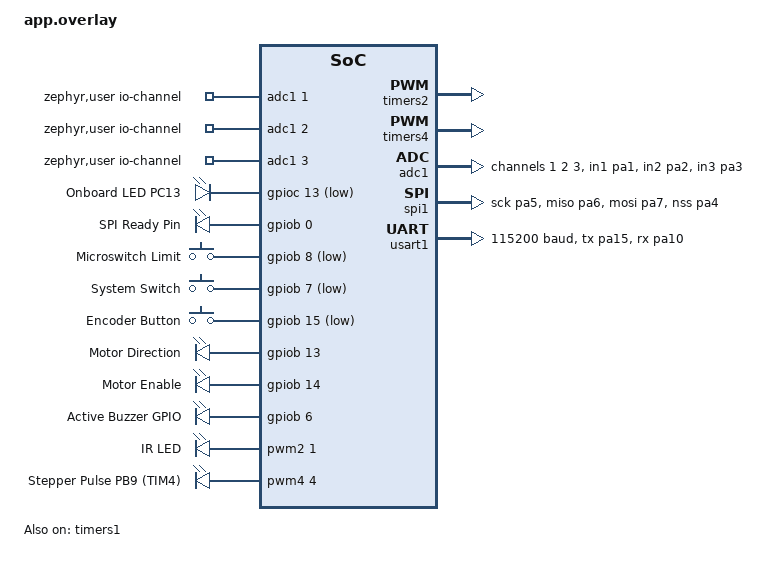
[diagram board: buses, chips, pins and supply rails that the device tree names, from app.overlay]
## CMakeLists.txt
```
cmake_minimum_required(VERSION 3.20.0)

# O Zephyr lê o arquivo 'VERSION' automaticamente AQUI
find_package(Zephyr REQUIRED HINTS $ENV{ZEPHYR_BASE})

project(infusion_pump)

target_include_directories(app PRIVATE
    include       
    utl           
)

target_sources(app PRIVATE
    src/main.c        
    src/cmd.c
    src/hub.c
    src/adc_driver.c
    src/encoder.c
    src/motor_driver.c
    src/logic_engine.c
    src/ota_handler.c 
    utl/utl_io.c      
    utl/utl_crc16.c   
)

# Define a versão do aplicativo com base no arquivo VERSION
set(APP_VERSION_STRING "${APP_VERSION_MAJOR}.${APP_VERSION_MINOR}.${APP_PATCHLEVEL}")

# Feedback visual no log
message(STATUS "Blackpill Firmware Version: ${APP_VERSION_STRING}")

# Injeta a versão na assinatura do MCUboot
set(CONFIG_MCUBOOT_IMGTOOL_SIGN_VERSION "${APP_VERSION_STRING}" CACHE STRING "" FORCE)


# Define o nome do arquivo de saída: "blackpill_v${APP_VERSION_MAJOR}.${APP_VERSION_MINOR}.${APP_PATCHLEVEL}.bin"
set(OUTPUT_BIN_NAME "blackpill_v${APP_VERSION_STRING}.bin")

# 1. Cria um "Alvo Customizado" chamado 'artifact_gen'.
# A flag 'ALL' diz ao CMake: "Este alvo faz parte do build padrão, execute-o sempre!"
add_custom_target(artifact_gen ALL
    COMMAND ${CMAKE_COMMAND} -E copy
    ${CMAKE_BINARY_DIR}/zephyr/zephyr.signed.bin
    ${CMAKE_SOURCE_DIR}/${OUTPUT_BIN_NAME}
    
    COMMENT ">>> [SUCESSO] ${OUTPUT_BIN_NAME}"
)

# 2. Define a Ordem de Execução
# Dizemos: "O alvo 'artifact_gen' depende do 'zephyr_final' estar pronto".
# Isso garante que a cópia só tente rodar depois que o Zephyr terminar de linkar tudo.
add_dependencies(artifact_gen zephyr_final)
```

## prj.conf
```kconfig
# Periféricos Básicos
CONFIG_GPIO=y
CONFIG_SERIAL=y
CONFIG_CONSOLE=y
CONFIG_INPUT=y

# SPI e DMA (Essenciais para o Hub)
CONFIG_SPI=y
CONFIG_SPI_SLAVE=y
CONFIG_DMA=y
CONFIG_SPI_STM32_DMA=y
CONFIG_SPI_STM32=y

# ADC
CONFIG_ADC=y
CONFIG_ADC_STM32=y

# Timer
CONFIG_PWM=y
CONFIG_PWM_STM32=y
CONFIG_SENSOR=y

# Lib C
CONFIG_PICOLIBC=n
CONFIG_NEWLIB_LIBC=y

# Logs (Otimizado para performance)
CONFIG_LOG=y
CONFIG_LOG_MODE_IMMEDIATE=n
CONFIG_LOG_MODE_DEFERRED=y
CONFIG_LOG_BUFFER_SIZE=4096
CONFIG_LOG_DEFAULT_LEVEL=3

# Stacks
CONFIG_MAIN_STACK_SIZE=4096
CONFIG_ISR_STACK_SIZE=4096

# Bootloader e DFU
CONFIG_BOOTLOADER_MCUBOOT=y
CONFIG_IMG_MANAGER=y
CONFIG_FLASH=y
CONFIG_FLASH_MAP=y
CONFIG_STREAM_FLASH=y
CONFIG_IMG_ERASE_PROGRESSIVELY=y
CONFIG_REBOOT=y

# Utils
CONFIG_NET_BUF=y
CONFIG_ZCBOR=y
CONFIG_CRC=y
CONFIG_POLL=y

CONFIG_SYSTEM_WORKQUEUE_PRIORITY=-1

# Assinatura (Ajuste a versão conforme necessário)
CONFIG_MCUBOOT_SIGNATURE_KEY_FILE="bootloader/mcuboot/root-rsa-2048.pem"
# CONFIG_MCUBOOT_IMGTOOL_SIGN_VERSION="1.0.5"
```

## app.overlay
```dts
/ {
    zephyr,user {
        io-channels = <&adc1 1>, <&adc1 2>, <&adc1 3>;
    };

    chosen {
        zephyr,code-partition = &slot0_partition;
        zephyr,console = &usart1;
        zephyr,shell-uart = &usart1;
    };
    
    aliases {
        led0 = &onboard_led;
        
        /* Sensores */
        qdec0 = &qdec;         
        sw-spdt = &button_spdt;
        sw-mech = &button_mech;
        sw-encoder = &button_encoder;
        
        /* ADC - Agora os labels &adc_photo existem! */
        adc-photo = &adc_photo;
        adc-pot = &adc_pot;
        adc-load = &adc_load;

        /* Atuadores */
        motor-pwm = &motor_pwm;
        motor-dir = &motor_dir;
        motor-en = &motor_en;
        led-ir = &pwm_ir;
        buzzer = &buzzer_gpio; 
        
        /* Comms */
        spi-ready = &ready_pin;
    };

    leds {
        compatible = "gpio-leds";
        onboard_led: led_pc13 {
            gpios = <&gpioc 13 GPIO_ACTIVE_LOW>;
            label = "Onboard LED PC13";
        };
        ready_pin: ready_pin_pb0 {
            gpios = <&gpiob 0 GPIO_ACTIVE_HIGH>;
            label = "SPI Ready Pin";
        };
    };

    buttons {
        compatible = "gpio-keys";
        button_mech: microswitch {
            gpios = <&gpiob 8 (GPIO_ACTIVE_LOW | GPIO_PULL_UP)>;
            label = "Microswitch Limit";
            zephyr,code = <11>; 
        };
        button_spdt: spdt_switch {
            gpios = <&gpiob 7 (GPIO_ACTIVE_LOW | GPIO_PULL_UP)>;
            label = "System Switch";
            zephyr,code = <12>;
        };
        button_encoder: encoder_sw {
            gpios = <&gpiob 15 (GPIO_ACTIVE_LOW | GPIO_PULL_UP)>;
            label = "Encoder Button";
            zephyr,code = <13>;
        };
    };

    gpio_outputs {
        compatible = "gpio-leds"; 
        motor_dir: motor_dir {
            gpios = <&gpiob 13 GPIO_ACTIVE_HIGH>;
            label = "Motor Direction";
        };
        motor_en: motor_ena {
            gpios = <&gpiob 14 GPIO_ACTIVE_HIGH>;
            label = "Motor Enable";
        };
        buzzer_gpio: buzzer_gpio {
            gpios = <&gpiob 6 GPIO_ACTIVE_HIGH>;
            label = "Active Buzzer GPIO";
        };
    };

    pwmleds {
        compatible = "pwm-leds";
        
        pwm_ir: pwm_led_ir {
            pwms = <&pwm2 1 PWM_MSEC(20) PWM_POLARITY_NORMAL>;
            label = "IR LED";
        };

        motor_pwm: motor_pulse {
            pwms = <&pwm4 4 PWM_USEC(1000) PWM_POLARITY_NORMAL>;
            label = "Stepper Pulse PB9 (TIM4)";
        };
    };
};

/* --- Configuração do Timer 1 (Hardware Encoder) --- */
&timers1 {
    status = "okay";
    
    qdec: qdec {
        compatible = "st,stm32-qdec";
        status = "okay";
        pinctrl-0 = <&tim1_ch1_pa8 &tim1_ch2_pa9>;
        pinctrl-names = "default";
        
        st,encoder-mode = <3>; 
        st,input-filter-level = <12>; 
        st,counts-per-revolution = <80>;
    };
};

/* --- Configuração dos Timers PWM --- */
&timers2 {
    status = "okay";
    pwm2: pwm {
        status = "okay";
        pinctrl-0 = <&tim2_ch1_pwm_pa0>;
        pinctrl-names = "default";
    };
};

&timers4 {
    status = "okay";
    st,prescaler = <95>; /* Clock máximo para precisão */

    pwm4: pwm {
        status = "okay";
        pinctrl-0 = <&tim4_ch4_pwm_pb9>; /* Aponta para a nova config AF2 */
        pinctrl-names = "default";
    };
};

/* --- Configuração ADC (CORRIGIDA) --- */
&adc1 {
    status = "okay";
    pinctrl-0 = <&adc1_in1_pa1 &adc1_in2_pa2 &adc1_in3_pa3>;
    pinctrl-names = "default";
    st,adc-clock-source = <SYNC>;
    st,adc-prescaler = <4>;
    #address-cells = <1>;
    #size-cells = <0>;

    /* ADICIONADO: Labels para os canais */
    adc_photo: channel@1 {
        reg = <1>;
        zephyr,gain = "ADC_GAIN_1";
        zephyr,reference = "ADC_REF_INTERNAL";
        zephyr,acquisition-time = <ADC_ACQ_TIME_DEFAULT>;
        zephyr,resolution = <12>;
    };
    adc_pot: channel@2 {
        reg = <2>;
        zephyr,gain = "ADC_GAIN_1";
        zephyr,reference = "ADC_REF_INTERNAL";
        zephyr,acquisition-time = <ADC_ACQ_TIME_DEFAULT>;
        zephyr,resolution = <12>;
    };
    adc_load: channel@3 {
        reg = <3>;
        zephyr,gain = "ADC_GAIN_1";
        zephyr,reference = "ADC_REF_INTERNAL";
        zephyr,acquisition-time = <ADC_ACQ_TIME_DEFAULT>;
        zephyr,resolution = <12>;
    };
};

/* --- Pin Control (Muxing) --- */
&pinctrl {
    /* SPI1 */
    spi1_sck_pa5: spi1_sck_pa5 {
        pinmux = <STM32_PINMUX('A', 5, AF5)>;
        bias-pull-up; 
    };
    spi1_miso_pa6: spi1_miso_pa6 {
        pinmux = <STM32_PINMUX('A', 6, AF5)>;
        bias-pull-down;
    };
    spi1_mosi_pa7: spi1_mosi_pa7 {
        pinmux = <STM32_PINMUX('A', 7, AF5)>;
        bias-pull-up;
    };
    spi1_nss_pa4: spi1_nss_pa4 {
         pinmux = <STM32_PINMUX('A', 4, AF5)>;
         bias-pull-up;
    };

    /* ADC */
    adc1_in1_pa1: adc1_in1_pa1 { pinmux = <STM32_PINMUX('A', 1, ANALOG)>; };
    adc1_in2_pa2: adc1_in2_pa2 { pinmux = <STM32_PINMUX('A', 2, ANALOG)>; };
    adc1_in3_pa3: adc1_in3_pa3 { pinmux = <STM32_PINMUX('A', 3, ANALOG)>; };

    /* PWM Timers */
    tim2_ch1_pwm_pa0: tim2_ch1_pwm_pa0 {
        pinmux = <STM32_PINMUX('A', 0, AF1)>;
    };
    tim4_ch4_pwm_pb9: tim4_ch4_pwm_pb9 {
        pinmux = <STM32_PINMUX('B', 9, AF2)>; /* AF2 = TIM4_CH4 */
        bias-pull-down; /* Garante 0V quando desligado */
        drive-push-pull;
        slew-rate = "very-high-speed"; /* Bom para PWM rápido */
    };
    
    /* Hardware Encoder Timer 1 (PA8 e PA9) */
    tim1_ch1_pa8: tim1_ch1_pa8 {
        pinmux = <STM32_PINMUX('A', 8, AF1)>;
        bias-pull-up;
    };
    tim1_ch2_pa9: tim1_ch2_pa9 {
        pinmux = <STM32_PINMUX('A', 9, AF1)>;
        bias-pull-up;
    };

    usart1_tx_pa15: usart1_tx_pa15 {
        pinmux = <STM32_PINMUX('A', 15, AF7)>;
        bias-pull-up;
    };

    /* Configura PA10 como USART1_RX (AF7) */
    usart1_rx_pa10: usart1_rx_pa10 {
        pinmux = <STM32_PINMUX('A', 10, AF7)>;
        bias-pull-up;
    };
};

/* --- Configurações Flash e Periféricos --- */
&flash0 {
    /delete-node/ partitions;
};

&flash0 {
    partitions {
        compatible = "fixed-partitions";
        #address-cells = <1>;
        #size-cells = <1>;
        boot_partition: partition@0 {
            label = "mcuboot";
            reg = <0x00000000 0x00020000>; 
        };
        slot0_partition: partition@20000 {
            label = "image-0";
            reg = <0x00020000 0x00020000>; 
        };
        slot1_partition: partition@40000 {
            label = "image-1";
            reg = <0x00040000 0x00020000>; 
        };
        scratch_partition: partition@60000 {
            label = "image-scratch";
            reg = <0x00060000 0x00020000>; 
        };
    };
};

&dma2 { status = "okay"; };

&spi1 {
    status = "okay";
    pinctrl-0 = <&spi1_sck_pa5 &spi1_miso_pa6 &spi1_mosi_pa7 &spi1_nss_pa4>;
    pinctrl-names = "default";
    dmas = <&dma2 3 3 0x28440 0x03>, <&dma2 0 3 0x28480 0x03>;
    dma-names = "tx", "rx";
};

/* Configuração do Periférico USART1 */
&usart1 {
    status = "okay";
    pinctrl-0 = <&usart1_tx_pa15 &usart1_rx_pa10>;
    pinctrl-names = "default";
    current-speed = <115200>;
};

/* Desativa periféricos não usados */
&i2c1 { status = "disabled"; };
&i2c2 { status = "disabled"; };
&i2c3 { status = "disabled"; };
&usart2 { status = "disabled"; };
&usart6 { status = "disabled"; };
&timers11 { status = "disabled"; };
```

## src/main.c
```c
#include <zephyr/kernel.h>
#include <zephyr/dfu/mcuboot.h>
#include <zephyr/drivers/gpio.h>
#include <zephyr/logging/log.h>
#include <zephyr/app_version.h>
#include "hub.h"
#include "protocol_defs.h"
#include "sensor_data.h"
#include "logic_engine.h"

LOG_MODULE_REGISTER(main, LOG_LEVEL_INF);

static const struct gpio_dt_spec led = GPIO_DT_SPEC_GET(DT_ALIAS(led0), gpios);

int main(void)
{
    if (device_is_ready(led.port))
    {
        gpio_pin_configure_dt(&led, GPIO_OUTPUT_ACTIVE);
    }

    LOG_INF("--- BLACKPILL BOOT (v%u.%u.%u) ---",
            APP_VERSION_MAJOR,
            APP_VERSION_MINOR,
            APP_PATCHLEVEL);

    boot_write_img_confirmed();

    if (hub_init() != 0)
    {
        LOG_ERR("Falha fatal no Hub SPI!");
        return -1;
    }

    LOG_INF("Sistema inicializado. Threads ativas.");

    /* Nada mais a fazer.
       O sistema roda via threads. */
    while (1)
    {
        k_sleep(K_FOREVER);
    }
}
```

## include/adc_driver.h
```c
#ifndef ADC_DRIVER_H
#define ADC_DRIVER_H

#include <zephyr/kernel.h>
#include "sensor_data.h"

extern struct k_msgq sensor_data_q;

int adc_driver_init(void);
void adc_thread_entry(void *p1, void *p2, void *p3);

#endif
```

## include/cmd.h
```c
#ifndef CMD_H
#define CMD_H

#include <stdint.h>
#include <stddef.h>
#include <stdbool.h>

/* Configurações de Tamanho */
#define CMD_MAX_DATA_SIZE 250

// [MUDANÇA 1] Tamanho do Header sobe para 7 (AA+55+DST+SRC+ID+SIZE)
#define CMD_HDR_SIZE       7
#define CMD_TRAILER_SIZE   2
#define FRAME_MAX_CMD_SIZE (CMD_HDR_SIZE + CMD_MAX_DATA_SIZE + CMD_TRAILER_SIZE)
#define CMD_INVALID_ID     255
#define ADDR_MASTER        0x00
#define ADDR_SLAVE         0x01

// [MUDANÇA 2] Definição dos Bytes de Start of Frame
#define CMD_SOF_1_BYTE 0xAA
#define CMD_SOF_2_BYTE 0x55

typedef enum cmd_ids_e
{
    CMD_VERSION_REQ_ID = 0x01,
    CMD_VERSION_RES_ID = 0x02,
    CMD_GET_STATUS_REQ_ID = 0x03,
    CMD_GET_STATUS_RES_ID = 0x04,
    CMD_SET_CONFIG_REQ_ID = 0x10,
    CMD_SET_CONFIG_RES_ID = 0x11,
    CMD_ACTION_RUN_REQ_ID = 0x20,
    CMD_ACTION_PAUSE_REQ_ID = 0x21,
    CMD_ACTION_ABORT_REQ_ID = 0x22,
    CMD_ACTION_PURGE_REQ_ID = 0x23,
    CMD_ACTION_BOLUS_REQ_ID = 0x24,
    CMD_ACTION_RES_ID = 0x2F,
    CMD_OTA_START_REQ_ID = 0x50,
    CMD_OTA_CHUNK_REQ_ID = 0x51,
    CMD_OTA_END_REQ_ID = 0x52,
    CMD_OTA_RES_ID = 0x5F,
} cmd_ids_t;

typedef enum
{
    CMD_OK = 0,
    CMD_ERR_INVALID_STATE,
    CMD_ERR_PARAM_RANGE,
    CMD_ERR_UNKNOWN_CMD,
    CMD_ERR_CHECKSUM,
    CMD_ERR_TIMEOUT,
    CMD_ERR_SYNC,
} cmd_status_t;

/* --- ESTRUTURAS DE PACOTE (WIRE FORMAT) --- */

typedef struct __attribute__((packed)) cmd_hdr_s
{
    // [MUDANÇA 3] Inserir SOF no início da estrutura
    uint8_t sof1; // 0xAA
    uint8_t sof2; // 0x55
    uint8_t dst;
    uint8_t src;
    uint8_t id;
    uint16_t size;
} cmd_hdr_t;

// ... O resto do arquivo (structs de payload) permanece IDÊNTICO ...
// ... Copie o restante do seu arquivo original aqui ...

typedef struct __attribute__((packed)) cmd_trl_s
{
    uint16_t crc;
} cmd_trl_t;

// ... (Mantenha todas as outras structs de payload do seu código original) ...

/* --- PAYLOADS (Mantenha igual ao seu) --- */
typedef struct cmd_version_req_s
{
} cmd_version_req_t;

typedef struct __attribute__((packed)) cmd_version_res_s
{
    uint8_t major;
    uint8_t minor;
    uint8_t patch;
} cmd_version_res_t;

typedef struct __attribute__((packed)) cmd_config_payload_s
{
    uint32_t volume;
    uint32_t flow_rate;
    uint8_t diameter;
    // uint8_t mode;
} cmd_config_payload_t;

typedef struct __attribute__((packed)) cmd_set_config_req_s
{
    cmd_config_payload_t config;
} cmd_set_config_req_t;

typedef struct __attribute__((packed)) cmd_set_config_res_s
{
    uint8_t status; 
} cmd_set_config_res_t;

typedef struct __attribute__((packed)) cmd_status_payload_s
{
    uint8_t current_state;
    uint32_t volume;
    uint32_t flow_rate_set;
    uint32_t pressure;
    uint8_t alarm_active;
} cmd_status_payload_t;

typedef struct cmd_get_status_req_s
{
} cmd_get_status_req_t;

typedef struct __attribute__((packed)) cmd_get_status_res_s
{
    cmd_status_payload_t status_data;
} cmd_get_status_res_t;

/* Comandos de Ação (Payload Vazio) */
typedef struct cmd_action_run_req_s
{
} cmd_action_run_req_t;

typedef struct cmd_action_pause_req_s
{
} cmd_action_pause_req_t;

typedef struct cmd_action_abort_req_s
{
} cmd_action_abort_req_t;

typedef struct cmd_action_purge_req_s
{
} cmd_action_purge_req_t;

typedef struct __attribute__((packed)) cmd_action_bolus_payload_s
{
    uint32_t bolus_volume;
    uint32_t bolus_rate;
} cmd_action_bolus_payload_t;

typedef struct __attribute__((packed)) cmd_action_bolus_req_s
{
    cmd_action_bolus_payload_t payload;
} cmd_action_bolus_req_t;

typedef struct __attribute__((packed)) cmd_action_res_s
{
    uint8_t cmd_req_id;
    uint8_t status;
} cmd_action_res_t;

typedef enum cmd_sizes_e
{
    CMD_VERSION_REQ_SIZE = 0,
    CMD_VERSION_RES_SIZE = sizeof(cmd_version_res_t),
    CMD_GET_STATUS_REQ_SIZE = 0,
    CMD_GET_STATUS_RES_SIZE = sizeof(cmd_get_status_res_t),
    CMD_SET_CONFIG_REQ_SIZE = sizeof(cmd_set_config_req_t),
    CMD_SET_CONFIG_RES_SIZE = sizeof(cmd_set_config_res_t),
    CMD_ACTION_REQ_SIZE = 0,
    CMD_ACTION_RES_SIZE = sizeof(cmd_action_res_t),
    CMD_ACTION_BOLUS_REQ_SIZE = sizeof(cmd_action_bolus_req_t),
    CMD_OTA_RES_SIZE = sizeof(cmd_action_res_t),
} cmd_sizes_t;

typedef union cmd_cmds_u
{
    cmd_version_req_t version_req;
    cmd_version_res_t version_res;
    cmd_get_status_req_t status_req;
    cmd_get_status_res_t status_res;
    cmd_set_config_req_t config_req;
    cmd_set_config_res_t config_res;
    cmd_action_run_req_t run_req;
    cmd_action_pause_req_t pause_req;
    cmd_action_abort_req_t abort_req;
    cmd_action_purge_req_t purge_req;
    cmd_action_bolus_req_t bolus_req;
    cmd_action_res_t action_res;
    cmd_action_res_t ota_res;
} cmd_cmds_t;

#define CMD_NUM_CMDS 0x60

bool cmd_decode(uint8_t* buffer, size_t size, uint8_t* src, uint8_t* dst, cmd_ids_t* id, cmd_cmds_t* decoded_cmd);
bool cmd_encode(uint8_t* buffer, size_t* size, uint8_t* src, uint8_t* dst, cmd_ids_t* id, cmd_cmds_t* encoded_cmd);

// ... (Mantenha os protótipos de encoders/decoders específicos) ...
bool cmd_encode_version_req(uint8_t dst, uint8_t src, cmd_version_req_t* cmd, uint8_t* buffer, size_t* size);
bool cmd_encode_version_res(uint8_t dst, uint8_t src, cmd_version_res_t* cmd, uint8_t* buffer, size_t* size);
bool cmd_encode_status_req(uint8_t dst, uint8_t src, cmd_get_status_req_t* cmd, uint8_t* buffer, size_t* size);
bool cmd_encode_status_res(uint8_t dst, uint8_t src, cmd_get_status_res_t* cmd, uint8_t* buffer, size_t* size);
bool cmd_encode_config_req(uint8_t dst, uint8_t src, cmd_set_config_req_t* cmd, uint8_t* buffer, size_t* size);
bool cmd_encode_config_res(uint8_t dst, uint8_t src, cmd_set_config_res_t* cmd, uint8_t* buffer, size_t* size);
bool cmd_encode_action_run_req(uint8_t dst, uint8_t src, cmd_action_run_req_t* cmd, uint8_t* buffer, size_t* size);
bool cmd_encode_action_pause_req(uint8_t dst, uint8_t src, cmd_action_pause_req_t* cmd, uint8_t* buffer, size_t* size);
bool cmd_encode_action_abort_req(uint8_t dst, uint8_t src, cmd_action_abort_req_t* cmd, uint8_t* buffer, size_t* size);
bool cmd_encode_action_purge_req(uint8_t dst, uint8_t src, cmd_action_purge_req_t* cmd, uint8_t* buffer, size_t* size);
bool cmd_encode_action_bolus_req(uint8_t dst, uint8_t src, cmd_action_bolus_req_t* cmd, uint8_t* buffer, size_t* size);
bool cmd_encode_action_res(uint8_t dst, uint8_t src, cmd_action_res_t* cmd, uint8_t* buffer, size_t* size);
bool cmd_encode_ota_res(uint8_t dst, uint8_t src, cmd_action_res_t* cmd, uint8_t* buffer, size_t* size);

bool cmd_decode_version_req(cmd_cmds_t* cmd, uint8_t* buffer, size_t size);
bool cmd_decode_version_res(cmd_cmds_t* cmd, uint8_t* buffer, size_t size);
bool cmd_decode_status_req(cmd_cmds_t* cmd, uint8_t* buffer, size_t size);
bool cmd_decode_status_res(cmd_cmds_t* cmd, uint8_t* buffer, size_t size);
bool cmd_decode_config_req(cmd_cmds_t* cmd, uint8_t* buffer, size_t size);
bool cmd_decode_config_res(cmd_cmds_t* cmd, uint8_t* buffer, size_t size);
bool cmd_decode_action_run_req(cmd_cmds_t* cmd, uint8_t* buffer, size_t size);
bool cmd_decode_action_pause_req(cmd_cmds_t* cmd, uint8_t* buffer, size_t size);
bool cmd_decode_action_abort_req(cmd_cmds_t* cmd, uint8_t* buffer, size_t size);
bool cmd_decode_action_purge_req(cmd_cmds_t* cmd, uint8_t* buffer, size_t size);
bool cmd_decode_action_bolus_req(cmd_cmds_t* cmd, uint8_t* buffer, size_t size);
bool cmd_decode_action_res(cmd_cmds_t* cmd, uint8_t* buffer, size_t size);

uint16_t crc16_ccitt(const uint8_t* data, size_t length);
bool cmd_decode_ota_generic(cmd_cmds_t* cmd, uint8_t* buffer, size_t size);

// ... (Structs OTA) ...
typedef struct __attribute__((packed))
{
    uint32_t total_size;
} cmd_ota_start_t;

typedef struct __attribute__((packed))
{
    uint32_t offset;
    uint8_t len;
    uint8_t data[48];
} cmd_ota_chunk_t;

typedef struct
{
} cmd_ota_end_t;

#endif
```

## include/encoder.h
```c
#ifndef ENCODER_H
#define ENCODER_H

#include <stdint.h>

/**
 * @brief Inicializa o driver do encoder KY-040
 * @return 0 em caso de sucesso, código de erro negativo caso contrário
 */
int encoder_init(void);

/**
 * @brief Lê o ângulo absoluto atual (0 a 360 graus)
 * Útil para saber a posição exata em uma volta.
 */
int32_t encoder_get_angle(void);

/**
 * @brief Calcula o deslocamento (delta) desde a última leitura.
 * * Esta função é CRUCIAL para a bomba. Ela lida com o "wrap-around"
 * (passagem de 359 para 0 graus).
 * * @return Variação em graus (ex: +10, -5).
 */
int32_t encoder_get_delta(void);

#endif /* ENCODER_H */
```

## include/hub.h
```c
#ifndef HUB_H
#define HUB_H

#include <zephyr/kernel.h>
#include <stdint.h>
#include "protocol_defs.h"
#include "cmd.h"

#define HUB_THREAD_STACK_SIZE 4096
#define HUB_THREAD_PRIORITY   1

// --- VARIÁVEIS DO PARSER (MÁQUINA DE ESTADOS) ---
typedef enum
{
    STATE_WAIT_SOF1,
    STATE_WAIT_SOF2,
    STATE_READ_HEADER,
    STATE_READ_PAYLOAD,
    STATE_READ_CRC
} parser_state_t;

typedef enum {
    LOGIC_OK = 0,
    LOGIC_ERR_INVALID_STATE,
    LOGIC_ERR_NOT_ALLOWED,
} logic_result_t;

typedef struct {
    cmd_ids_t cmd_id;
    logic_result_t result;
} logic_ack_t;


extern volatile logic_result_t logic_last_result;
extern volatile command_id_t logic_last_cmd;
extern struct k_sem logic_cmd_sem;

int hub_init(void);

void hub_set_status(const pump_status_t* status);

void hub_thread_entry(void* p1, void* p2, void* p3);

int hub_get_command(pump_cmd_t* cmd);

#endif
```

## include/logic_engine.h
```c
#ifndef LOGIC_ENGINE_H
#define LOGIC_ENGINE_H

#include <zephyr/kernel.h>
#include "protocol_defs.h" 

/* * Interface Pública:
 * O Hub vai incluir isso para poder dar 'put' na fila de comandos.
 */
extern struct k_msgq cmd_queue;

void logic_thread_entry(void *p1, void *p2, void *p3);

#endif
```

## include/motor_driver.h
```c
#ifndef MOTOR_DRIVER_H
#define MOTOR_DRIVER_H

#include <stdint.h>
#include <stdbool.h>

int motor_init(void);
void motor_enable(bool enable);
void motor_run(uint32_t flow_rate_ml_h, uint8_t syringe_diameter);
void motor_stop(void);

#endif  
```

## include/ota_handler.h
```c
#ifndef OTA_HANDLER_H
#define OTA_HANDLER_H

#include <stdint.h>
#include <stddef.h>

void ota_start(uint32_t total_size);
int ota_write_chunk(uint8_t* data, size_t len);
void ota_finish(void);
void ota_check_and_reboot(void);

#endif
```

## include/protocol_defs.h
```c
#ifndef PROTOCOL_DEFS_H
#define PROTOCOL_DEFS_H

#include <stdint.h>

typedef enum
{
    STATE_POWER_ON,
    STATE_IDLE,
    STATE_RUNNING,
    STATE_BOLUS,
    STATE_PURGE,
    STATE_PAUSED,
    STATE_KVO,
    STATE_END_INFUSION,
    STATE_ALARM_BUBBLE,
    STATE_ALARM_OCCLUSION,
    STATE_ALARM_DOOR,
    STATE_OFF
} pump_state_t;

typedef enum
{
    CMD_NONE = 0,
    CMD_START,
    CMD_PAUSE,
    CMD_STOP,
    CMD_SET_BOLUS,
    CMD_SET_PURGE,
    CMD_SET_RATE,
    CMD_SET_VOLUME,
    CMD_SET_DIAMETER,
    // CMD_SET_MODE,
    CMD_CLEAR_ALARM
} command_id_t;

typedef struct
{
    command_id_t id;
    float param;
    float param2;
} pump_cmd_t;

typedef struct
{
    pump_state_t current_state;
    float infused_volume;
    float target_volume;
    uint32_t configured_flow_rate;
    uint8_t syringe_diameter;
    // uint8_t infusion_mode;
    uint32_t pressure_mmhg;
    uint8_t alarm_code;
} pump_status_t;

#endif
```

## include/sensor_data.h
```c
#ifndef SENSOR_DATA_H
#define SENSOR_DATA_H

#include <stdint.h>
#include <zephyr/kernel.h>
#include "protocol_defs.h"

typedef struct {
    int32_t bolha_mv;
    int32_t oclusao_mv;
    int32_t volume_pot_mv; 
    int32_t timestamp;    
} sensor_packet_t;

#endif
```

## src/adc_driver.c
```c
#include <zephyr/drivers/adc.h>
#include <zephyr/devicetree.h>
#include <zephyr/logging/log.h>
#include "adc_driver.h"

LOG_MODULE_REGISTER(adc_driver, LOG_LEVEL_INF);

K_MSGQ_DEFINE(sensor_data_q, sizeof(sensor_packet_t), 10, 4);

#define ZEPHYR_USER_NODE DT_PATH(zephyr_user)

#if !DT_NODE_EXISTS(ZEPHYR_USER_NODE)
#error "Device Tree Consumer Node 'zephyr,user' not found!"
#endif

static const struct adc_dt_spec sensor_1 = ADC_DT_SPEC_GET_BY_IDX(ZEPHYR_USER_NODE, 0);
static const struct adc_dt_spec sensor_2 = ADC_DT_SPEC_GET_BY_IDX(ZEPHYR_USER_NODE, 1);
static const struct adc_dt_spec sensor_3 = ADC_DT_SPEC_GET_BY_IDX(ZEPHYR_USER_NODE, 2);

static const struct adc_dt_spec* adcs[] = {&sensor_1, &sensor_2, &sensor_3};

static int16_t buf;
static struct adc_sequence sequence = {
    .buffer = &buf,
    .buffer_size = sizeof(buf),
    .calibrate = false,
};

#define FILT_LEN 10
static int32_t filt_buffer[FILT_LEN] = {0};
static int filt_idx = 0;
static int32_t filt_accumulator = 0;

int adc_driver_init(void)
{
    for(int i = 0; i < 3; i++)
    {
        if(!adc_is_ready_dt(adcs[i]))
        {
            LOG_ERR("ADC device not ready");
            return -1;
        }
        adc_channel_setup_dt(adcs[i]);
    }
    return 0;
}

/* Função interna estática */
static int adc_driver_read_channel(uint8_t channel_idx, uint16_t* value)
{
    if(channel_idx >= 3)
        return -1;

    adc_sequence_init_dt(adcs[channel_idx], &sequence);
    int err = adc_read(adcs[channel_idx]->dev, &sequence);

    if(err < 0)
    {
        LOG_ERR("Read failed ch %d", channel_idx);
        return err;
    }

    if(buf < 0)
        buf = 0;
    *value = (uint16_t) buf;
    return 0;
}

/* Função da Thread */
void adc_thread_entry(void* p1, void* p2, void* p3)
{
    sensor_packet_t packet;
    int32_t raw_mv_buf[3];

    adc_driver_init();
    LOG_INF("ADC Driver Started");

    while(1)
    {
        for(int i = 0; i < 3; i++)
        {
            uint16_t raw;
            // [CORREÇÃO] Nome da função corrigido aqui:
            if(adc_driver_read_channel(i, &raw) == 0)
            {
                int32_t val_mv = (int32_t) raw;

                int err = adc_raw_to_millivolts_dt(adcs[i], &val_mv);
                if(err < 0)
                {
                    LOG_ERR("Conversão mV falhou canal %d", i);
                    val_mv = 0;
                }

                raw_mv_buf[i] = val_mv;
            }
        }

        packet.bolha_mv = raw_mv_buf[0];

        filt_accumulator -= filt_buffer[filt_idx];
        filt_buffer[filt_idx] = raw_mv_buf[1];
        filt_accumulator += raw_mv_buf[1];
        filt_idx = (filt_idx + 1) % FILT_LEN;
        packet.oclusao_mv = filt_accumulator / FILT_LEN;

        packet.volume_pot_mv = raw_mv_buf[2];
        packet.timestamp = k_uptime_get_32();

        k_msgq_put(&sensor_data_q, &packet, K_NO_WAIT);
        k_sleep(K_MSEC(10));
    }
}

K_THREAD_DEFINE(adc_tid, 1024, adc_thread_entry, NULL, NULL, NULL, 2, 0, 0);
```

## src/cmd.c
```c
#include "cmd.h"
#include "utl_io.h"
#include "utl_crc16.h"

// [HELPER] Função para escrever o SOF automaticamente
static void write_sof(uint8_t** pbuf)
{
    utl_io_put8_tl_ap(CMD_SOF_1_BYTE, *pbuf);
    utl_io_put8_tl_ap(CMD_SOF_2_BYTE, *pbuf);
}

bool cmd_decode(uint8_t* buffer, size_t size, uint8_t* src, uint8_t* dst, cmd_ids_t* id, cmd_cmds_t* decoded_cmd)
{
    if(size < CMD_HDR_SIZE + CMD_TRAILER_SIZE)
        return false;

    uint8_t* pbuf = buffer;

    // [MUDANÇA CRÍTICA DECODE]
    // Pula os 2 bytes de SOF (AA 55) para chegar no DST.
    // O parser do hub.c já validou que eles existem.
    utl_io_get8_fl_ap(pbuf); // Pula SOF1
    utl_io_get8_fl_ap(pbuf); // Pula SOF2

    // Agora lê o resto normalmente
    *dst = utl_io_get8_fl_ap(pbuf);
    *src = utl_io_get8_fl_ap(pbuf);
    uint8_t raw_id = utl_io_get8_fl_ap(pbuf);
    *id = (cmd_ids_t) raw_id;
    uint16_t payload_size = utl_io_get16_fl_ap(pbuf);

    if(*id >= CMD_NUM_CMDS)
        return false;

    size_t real_packet_len = payload_size + CMD_HDR_SIZE + CMD_TRAILER_SIZE;
    if(size < real_packet_len)
        return false;

    // O CRC agora é calculado sobre TODO o pacote (incluindo SOF)
    uint16_t crc = utl_io_get16_fl(buffer + real_packet_len - 2);
    uint16_t crc_calc = utl_crc16_data(buffer, real_packet_len - 2, 0xFFFF);

    if(crc != crc_calc)
        return false;

    // ... (Switch e Tabela de Decoders permanecem iguais ao seu original) ...
    // Vou resumir aqui, mas MANTENHA o conteúdo do seu switch e tabela originais
    switch(*id)
    {
    case CMD_VERSION_REQ_ID:
    case CMD_VERSION_RES_ID:
    case CMD_GET_STATUS_REQ_ID:
    case CMD_GET_STATUS_RES_ID:
    case CMD_SET_CONFIG_REQ_ID:
    case CMD_SET_CONFIG_RES_ID:
    case CMD_ACTION_RUN_REQ_ID:
    case CMD_ACTION_PAUSE_REQ_ID:
    case CMD_ACTION_ABORT_REQ_ID:
    case CMD_ACTION_PURGE_REQ_ID:
    case CMD_ACTION_BOLUS_REQ_ID:
    case CMD_ACTION_RES_ID:
    case CMD_OTA_START_REQ_ID:
    case CMD_OTA_CHUNK_REQ_ID:
    case CMD_OTA_END_REQ_ID:
    case CMD_OTA_RES_ID:
        break;
    default:
        return false;
    }

    bool (*decoders[])(cmd_cmds_t* cmd, uint8_t* buffer, size_t size) = {
        [CMD_VERSION_REQ_ID] = cmd_decode_version_req,
        [CMD_VERSION_RES_ID] = cmd_decode_version_res,
        [CMD_GET_STATUS_REQ_ID] = cmd_decode_status_req,
        [CMD_GET_STATUS_RES_ID] = cmd_decode_status_res,
        [CMD_SET_CONFIG_REQ_ID] = cmd_decode_config_req,
        [CMD_SET_CONFIG_RES_ID] = cmd_decode_config_res,
        [CMD_ACTION_RES_ID] = cmd_decode_action_res,
        [CMD_ACTION_RUN_REQ_ID] = cmd_decode_action_run_req,
        [CMD_ACTION_PAUSE_REQ_ID] = cmd_decode_action_pause_req,
        [CMD_ACTION_ABORT_REQ_ID] = cmd_decode_action_abort_req,
        [CMD_ACTION_PURGE_REQ_ID] = cmd_decode_action_purge_req,
        [CMD_ACTION_BOLUS_REQ_ID] = cmd_decode_action_bolus_req,
        [CMD_OTA_START_REQ_ID] = cmd_decode_ota_generic,
        [CMD_OTA_CHUNK_REQ_ID] = cmd_decode_ota_generic,
        [CMD_OTA_END_REQ_ID] = cmd_decode_ota_generic,
        [CMD_OTA_RES_ID] = cmd_decode_ota_generic,
    };

    if(decoders[(uint8_t) *id] == NULL)
        return false;

    // Passamos pbuf, que agora aponta para o INÍCIO DO PAYLOAD
    return decoders[(uint8_t) *id](decoded_cmd, pbuf, payload_size);
}

// ... (Mantenha a função cmd_encode igual, ela apenas chama os específicos) ...
bool cmd_encode(uint8_t* buffer, size_t* size, uint8_t* src, uint8_t* dst, cmd_ids_t* id, cmd_cmds_t* encoded_cmd)
{
    // ... (Copie o switch do seu arquivo original) ...
    // Vou colocar o exemplo de um case para você ver:
    bool status = false;
    switch(*id)
    {
    case CMD_VERSION_REQ_ID:
        status = cmd_encode_version_req(*dst, *src, &encoded_cmd->version_req, buffer, size);
        break;
    case CMD_GET_STATUS_REQ_ID:
        status = cmd_encode_status_req(*dst, *src, &encoded_cmd->status_req, buffer, size);
        break;
    case CMD_SET_CONFIG_REQ_ID:
        status = cmd_encode_config_req(*dst, *src, &encoded_cmd->config_req, buffer, size);
        break;
    case CMD_ACTION_RUN_REQ_ID:
        status = cmd_encode_action_run_req(*dst, *src, &encoded_cmd->run_req, buffer, size);
        break;
    case CMD_ACTION_PAUSE_REQ_ID:
        status = cmd_encode_action_pause_req(*dst, *src, &encoded_cmd->pause_req, buffer, size);
        break;
    case CMD_ACTION_ABORT_REQ_ID:
        status = cmd_encode_action_abort_req(*dst, *src, &encoded_cmd->abort_req, buffer, size);
        break;
    case CMD_ACTION_PURGE_REQ_ID:
        status = cmd_encode_action_purge_req(*dst, *src, &encoded_cmd->purge_req, buffer, size);
        break;
    case CMD_ACTION_BOLUS_REQ_ID:
        status = cmd_encode_action_bolus_req(*dst, *src, &encoded_cmd->bolus_req, buffer, size);
        break;
    case CMD_VERSION_RES_ID:
        status = cmd_encode_version_res(*dst, *src, &encoded_cmd->version_res, buffer, size);
        break;
    case CMD_GET_STATUS_RES_ID:
        status = cmd_encode_status_res(*dst, *src, &encoded_cmd->status_res, buffer, size);
        break;
    case CMD_SET_CONFIG_RES_ID:
        status = cmd_encode_config_res(*dst, *src, &encoded_cmd->config_res, buffer, size);
        break;
    case CMD_ACTION_RES_ID:
        status = cmd_encode_action_res(*dst, *src, &encoded_cmd->action_res, buffer, size);
        break;
    case CMD_OTA_RES_ID:
        status = cmd_encode_ota_res(*dst, *src, &encoded_cmd->ota_res, buffer, size);
        break;
    default:
        status = false;
        break;
    }
    return status;
}

// [MUDANÇA CRÍTICA ENCODE] Função genérica de header com SOF
static bool cmd_encode_header_only(uint8_t dst, uint8_t src, cmd_ids_t id, uint8_t* buffer, size_t* size)
{
    uint8_t* pbuf = buffer;

    // 1. Escreve SOF
    write_sof(&pbuf);

    // 2. Escreve Resto do Header
    utl_io_put8_tl_ap(dst, pbuf);
    utl_io_put8_tl_ap(src, pbuf);
    utl_io_put8_tl_ap(id, pbuf);
    utl_io_put16_tl_ap(0, pbuf); // Payload Size 0

    // 3. Calcula CRC (SOF + Header)
    size_t len_so_far = pbuf - buffer;
    utl_io_put16_tl_ap(utl_crc16_data(buffer, len_so_far, 0xFFFF), pbuf);

    *size = (pbuf - buffer);
    return true;
}

// ... Encoders Simples (Chamam cmd_encode_header_only) ...
// (Mantenha as funções wrapper como run_req, pause_req, etc. iguais ao seu código original)
bool cmd_encode_version_req(uint8_t dst, uint8_t src, cmd_version_req_t* cmd, uint8_t* buffer, size_t* size)
{
    return cmd_encode_header_only(dst, src, CMD_VERSION_REQ_ID, buffer, size);
}
bool cmd_encode_status_req(uint8_t dst, uint8_t src, cmd_get_status_req_t* cmd, uint8_t* buffer, size_t* size)
{
    return cmd_encode_header_only(dst, src, CMD_GET_STATUS_REQ_ID, buffer, size);
}
bool cmd_encode_action_run_req(uint8_t dst, uint8_t src, cmd_action_run_req_t* cmd, uint8_t* buffer, size_t* size)
{
    return cmd_encode_header_only(dst, src, CMD_ACTION_RUN_REQ_ID, buffer, size);
}
bool cmd_encode_action_pause_req(uint8_t dst, uint8_t src, cmd_action_pause_req_t* cmd, uint8_t* buffer, size_t* size)
{
    return cmd_encode_header_only(dst, src, CMD_ACTION_PAUSE_REQ_ID, buffer, size);
}
bool cmd_encode_action_abort_req(uint8_t dst, uint8_t src, cmd_action_abort_req_t* cmd, uint8_t* buffer, size_t* size)
{
    return cmd_encode_header_only(dst, src, CMD_ACTION_ABORT_REQ_ID, buffer, size);
}
bool cmd_encode_action_purge_req(uint8_t dst, uint8_t src, cmd_action_purge_req_t* cmd, uint8_t* buffer, size_t* size)
{
    return cmd_encode_header_only(dst, src, CMD_ACTION_PURGE_REQ_ID, buffer, size);
}
bool cmd_encode_action_bolus_req(uint8_t dst, uint8_t src, cmd_action_bolus_req_t* cmd, uint8_t* buffer, size_t* size)
{
    uint8_t* pbuf = buffer;
    write_sof(&pbuf);
    utl_io_put8_tl_ap(dst, pbuf);
    utl_io_put8_tl_ap(src, pbuf);
    utl_io_put8_tl_ap(CMD_ACTION_BOLUS_REQ_ID, pbuf);
    utl_io_put16_tl_ap(CMD_ACTION_BOLUS_REQ_SIZE, pbuf);

    utl_io_put32_tl_ap(cmd->payload.bolus_volume, pbuf);
    utl_io_put32_tl_ap(cmd->payload.bolus_rate, pbuf);

    utl_io_put16_tl_ap(utl_crc16_data(buffer, (pbuf - buffer), 0xFFFF), pbuf);
    *size = (pbuf - buffer);

    return true;

}

// [MUDANÇA CRÍTICA ENCODE] Payloads Complexos precisam de write_sof() manual
bool cmd_encode_config_req(uint8_t dst, uint8_t src, cmd_set_config_req_t* cmd, uint8_t* buffer, size_t* size)
{
    uint8_t* pbuf = buffer;

    write_sof(&pbuf); // <--- AQUI

    utl_io_put8_tl_ap(dst, pbuf);
    utl_io_put8_tl_ap(src, pbuf);
    utl_io_put8_tl_ap(CMD_SET_CONFIG_REQ_ID, pbuf);
    utl_io_put16_tl_ap(CMD_SET_CONFIG_REQ_SIZE, pbuf);

    utl_io_put32_tl_ap(cmd->config.volume, pbuf);
    utl_io_put32_tl_ap(cmd->config.flow_rate, pbuf);
    utl_io_put8_tl_ap(cmd->config.diameter, pbuf);
    // utl_io_put8_tl_ap(cmd->config.mode, pbuf);

    utl_io_put16_tl_ap(utl_crc16_data(buffer, (pbuf - buffer), 0xFFFF), pbuf);
    *size = (pbuf - buffer);
    return true;
}

bool cmd_encode_version_res(uint8_t dst, uint8_t src, cmd_version_res_t* cmd, uint8_t* buffer, size_t* size)
{
    uint8_t* pbuf = buffer;
    write_sof(&pbuf); // <--- AQUI
    utl_io_put8_tl_ap(dst, pbuf);
    utl_io_put8_tl_ap(src, pbuf);
    utl_io_put8_tl_ap(CMD_VERSION_RES_ID, pbuf);
    utl_io_put16_tl_ap(CMD_VERSION_RES_SIZE, pbuf);
    utl_io_put8_tl_ap(cmd->major, pbuf);
    utl_io_put8_tl_ap(cmd->minor, pbuf);
    utl_io_put8_tl_ap(cmd->patch, pbuf);
    utl_io_put16_tl_ap(utl_crc16_data(buffer, (pbuf - buffer), 0xFFFF), pbuf);
    *size = (pbuf - buffer);
    return true;
}

bool cmd_encode_status_res(uint8_t dst, uint8_t src, cmd_get_status_res_t* cmd, uint8_t* buffer, size_t* size)
{
    uint8_t* pbuf = buffer;
    write_sof(&pbuf); // <--- AQUI
    utl_io_put8_tl_ap(dst, pbuf);
    utl_io_put8_tl_ap(src, pbuf);
    utl_io_put8_tl_ap(CMD_GET_STATUS_RES_ID, pbuf);
    utl_io_put16_tl_ap(CMD_GET_STATUS_RES_SIZE, pbuf);
    utl_io_put8_tl_ap(cmd->status_data.current_state, pbuf);
    utl_io_put32_tl_ap(cmd->status_data.volume, pbuf);
    utl_io_put32_tl_ap(cmd->status_data.flow_rate_set, pbuf);
    utl_io_put32_tl_ap(cmd->status_data.pressure, pbuf);
    utl_io_put8_tl_ap(cmd->status_data.alarm_active, pbuf);
    utl_io_put16_tl_ap(utl_crc16_data(buffer, (pbuf - buffer), 0xFFFF), pbuf);
    *size = (pbuf - buffer);
    return true;
}

bool cmd_encode_config_res(uint8_t dst, uint8_t src, cmd_set_config_res_t* cmd, uint8_t* buffer, size_t* size)
{
    uint8_t* pbuf = buffer;
    write_sof(&pbuf); // <--- AQUI
    utl_io_put8_tl_ap(dst, pbuf);
    utl_io_put8_tl_ap(src, pbuf);
    utl_io_put8_tl_ap(CMD_SET_CONFIG_RES_ID, pbuf);
    utl_io_put16_tl_ap(CMD_SET_CONFIG_RES_SIZE, pbuf);
    utl_io_put8_tl_ap(cmd->status, pbuf);
    utl_io_put16_tl_ap(utl_crc16_data(buffer, (pbuf - buffer), 0xFFFF), pbuf);
    *size = (pbuf - buffer);
    return true;
}

bool cmd_encode_action_res(uint8_t dst, uint8_t src, cmd_action_res_t* cmd, uint8_t* buffer, size_t* size)
{
    uint8_t* pbuf = buffer;
    write_sof(&pbuf); // <--- AQUI
    utl_io_put8_tl_ap(dst, pbuf);
    utl_io_put8_tl_ap(src, pbuf);
    utl_io_put8_tl_ap(CMD_ACTION_RES_ID, pbuf);
    utl_io_put16_tl_ap(CMD_ACTION_RES_SIZE, pbuf);
    utl_io_put8_tl_ap(cmd->cmd_req_id, pbuf);
    utl_io_put8_tl_ap(cmd->status, pbuf);
    utl_io_put16_tl_ap(utl_crc16_data(buffer, (pbuf - buffer), 0xFFFF), pbuf);
    *size = (pbuf - buffer);
    return true;
}

bool cmd_encode_ota_res(uint8_t dst, uint8_t src, cmd_action_res_t* cmd, uint8_t* buffer, size_t* size)
{
    uint8_t* pbuf = buffer;
    write_sof(&pbuf); // <--- AQUI
    utl_io_put8_tl_ap(dst, pbuf);
    utl_io_put8_tl_ap(src, pbuf);
    utl_io_put8_tl_ap(CMD_OTA_RES_ID, pbuf);
    utl_io_put16_tl_ap(CMD_OTA_RES_SIZE, pbuf);
    utl_io_put8_tl_ap(cmd->cmd_req_id, pbuf);
    utl_io_put8_tl_ap(cmd->status, pbuf);
    utl_io_put16_tl_ap(utl_crc16_data(buffer, (pbuf - buffer), 0xFFFF), pbuf);
    *size = (pbuf - buffer);
    return true;
}

// [DECODERS ESPECÍFICOS]
// Estes NÂO mudam em relação ao seu original, pois eles só leem o payload.
// O 'cmd_decode' principal já tratou o header e SOF.
// (Mantenha todas as funções cmd_decode_xxx do seu arquivo original aqui)
bool cmd_decode_version_req(cmd_cmds_t* cmd, uint8_t* buffer, size_t size)
{
    return size == 0;
}
bool cmd_decode_status_req(cmd_cmds_t* cmd, uint8_t* buffer, size_t size)
{
    return size == 0;
}
bool cmd_decode_action_run_req(cmd_cmds_t* cmd, uint8_t* buffer, size_t size)
{
    return size == 0;
}
bool cmd_decode_action_pause_req(cmd_cmds_t* cmd, uint8_t* buffer, size_t size)
{
    return size == 0;
}
bool cmd_decode_action_abort_req(cmd_cmds_t* cmd, uint8_t* buffer, size_t size)
{
    return size == 0;
}
bool cmd_decode_action_purge_req(cmd_cmds_t* cmd, uint8_t* buffer, size_t size)
{
    return size == 0;
}
bool cmd_decode_action_bolus_req(cmd_cmds_t* cmd, uint8_t* buffer, size_t size)
{
    uint8_t* pbuf = buffer;
    if(size != CMD_ACTION_BOLUS_REQ_SIZE)
        return false;
    cmd->bolus_req.payload.bolus_volume = utl_io_get32_fl_ap(pbuf);
    cmd->bolus_req.payload.bolus_rate = utl_io_get32_fl_ap(pbuf);
    return true;
}

bool cmd_decode_config_req(cmd_cmds_t* cmd, uint8_t* buffer, size_t size)
{
    uint8_t* pbuf = buffer;
    if(size != CMD_SET_CONFIG_REQ_SIZE)
        return false;
    cmd->config_req.config.volume = utl_io_get32_fl_ap(pbuf);
    cmd->config_req.config.flow_rate = utl_io_get32_fl_ap(pbuf);
    cmd->config_req.config.diameter = utl_io_get8_fl_ap(pbuf);
    // cmd->config_req.config.mode = utl_io_get8_fl_ap(pbuf);
    return true;
}

// ... (Mantenha os decoders de resposta: version_res, status_res, etc. iguais ao seu original)
bool cmd_decode_version_res(cmd_cmds_t* cmd, uint8_t* buffer, size_t size)
{
    uint8_t* pbuf = buffer;
    if(size != CMD_VERSION_RES_SIZE)
        return false;
    cmd->version_res.major = utl_io_get8_fl_ap(pbuf);
    cmd->version_res.minor = utl_io_get8_fl_ap(pbuf);
    cmd->version_res.patch = utl_io_get8_fl_ap(pbuf);
    return true;
}
bool cmd_decode_status_res(cmd_cmds_t* cmd, uint8_t* buffer, size_t size)
{
    uint8_t* pbuf = buffer;
    if(size != CMD_GET_STATUS_RES_SIZE)
        return false;
    cmd->status_res.status_data.current_state = utl_io_get8_fl_ap(pbuf);
    cmd->status_res.status_data.volume = utl_io_get32_fl_ap(pbuf);
    cmd->status_res.status_data.flow_rate_set = utl_io_get32_fl_ap(pbuf);
    cmd->status_res.status_data.pressure = utl_io_get32_fl_ap(pbuf);
    cmd->status_res.status_data.alarm_active = utl_io_get8_fl_ap(pbuf);
    return true;
}
bool cmd_decode_config_res(cmd_cmds_t* cmd, uint8_t* buffer, size_t size)
{
    uint8_t* pbuf = buffer;
    if(size != CMD_SET_CONFIG_RES_SIZE)
        return false;
    cmd->config_res.status = (cmd_status_t) utl_io_get8_fl_ap(pbuf);
    return true;
}
bool cmd_decode_action_res(cmd_cmds_t* cmd, uint8_t* buffer, size_t size)
{
    uint8_t* pbuf = buffer;
    if(size != CMD_ACTION_RES_SIZE)
        return false;
    cmd->action_res.cmd_req_id = (cmd_ids_t) utl_io_get8_fl_ap(pbuf);
    cmd->action_res.status = (cmd_status_t) utl_io_get8_fl_ap(pbuf);
    return true;
}
bool cmd_decode_ota_generic(cmd_cmds_t* cmd, uint8_t* buffer, size_t size)
{
    return true;
}
```

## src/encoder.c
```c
#include "encoder.h"
#include <zephyr/kernel.h>
#include <zephyr/device.h>
#include <zephyr/drivers/sensor.h>
#include <zephyr/logging/log.h>

LOG_MODULE_REGISTER(encoder_hal, LOG_LEVEL_INF);

/* Pega a referência do Device Tree (alias qdec0) */
static const struct device* const dev_qdec = DEVICE_DT_GET(DT_ALIAS(qdec0));

/* Variável estática para guardar a última posição lida (para cálculo de delta) */
static int32_t last_angle = 0;

int encoder_init(void)
{
    if(!device_is_ready(dev_qdec))
    {
        LOG_ERR("Hardware do Encoder (Timer 1) não está pronto!");
        return -ENODEV;
    }

    /* Faz uma leitura inicial para 'calibrar' o last_angle */
    struct sensor_value val;
    if(sensor_sample_fetch(dev_qdec) == 0)
    {
        sensor_channel_get(dev_qdec, SENSOR_CHAN_ROTATION, &val);
        last_angle = val.val1;
    }

    LOG_INF("Encoder inicializado com sucesso.");
    return 0;
}

int32_t encoder_get_angle(void)
{
    struct sensor_value val;
    int rc;

    /* 1. Fetch: Congela o valor do hardware */
    rc = sensor_sample_fetch(dev_qdec);
    if(rc != 0)
    {
        LOG_ERR("Erro fetch encoder: %d", rc);
        return -1;
    }

    /* 2. Get: Lê o valor processado (Graus) */
    rc = sensor_channel_get(dev_qdec, SENSOR_CHAN_ROTATION, &val);
    if(rc != 0)
    {
        LOG_ERR("Erro get encoder: %d", rc);
        return -1;
    }

    /* O driver STM32 retorna graus na parte inteira (val1) */
    return val.val1;
}

int32_t encoder_get_delta(void)
{
    int32_t current_angle = encoder_get_angle();

    /* Se houve erro na leitura, retorne 0 para não afetar o volume */
    if(current_angle < 0)
        return 0;

    int32_t delta = current_angle - last_angle;

    /* --- Lógica de Correção de Volta Completa (Wrap-around) --- */
    /* Se pulou de 350 para 10 (avançou), o delta matemático é -340.
       Mas o delta real é +20. */
    if(delta < -180)
    {
        delta += 360;
    }
    /* Se pulou de 10 para 350 (recuou), o delta matemático é +340.
       Mas o delta real é -20. */
    else if(delta > 180)
    {
        delta -= 360;
    }

    /* Atualiza a última posição para a próxima chamada */
    last_angle = current_angle;

    return delta;
}
```
